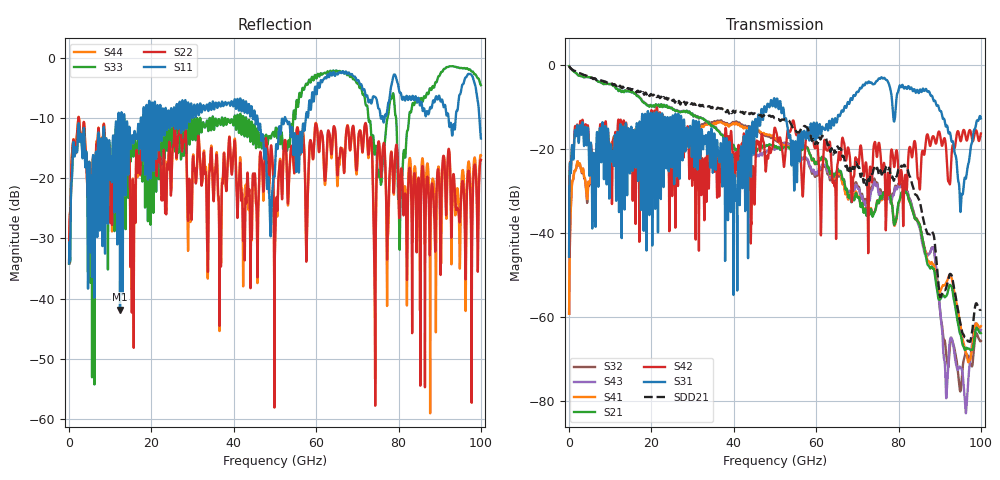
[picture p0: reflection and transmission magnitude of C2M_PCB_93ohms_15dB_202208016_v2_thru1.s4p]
! Info: Touchstone file created by Circ.  Input file=Intel_C2M_200G_4p0in_202208016_staggered.circ
# Hz S RI R 50
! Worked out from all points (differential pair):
!   10000 points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, 10 MHz to 100 GHz, reference 50 ohm
!   strongest paths, dB at 10 MHz, 25.01 GHz, 50.01 GHz, 75.01 GHz, 100 GHz:
!     S31: -45.7, -15.3, -8.9, -3.3, -12.6
!     S42: -45.7, -30.2, -14.9, -19.7, -16.3
!     S21: -0.2, -10.2, -19.5, -32.5, -63.9
!     S41: -59.3, -16.8, -17.3, -32.5, -62.3
!     S43: -0.2, -10.1, -20.1, -29.5, -63.2
!     S32: -59.3, -16.7, -17.8, -29.0, -65.8
!   taken as a pair (ports 1,3 in; 2,4 out), SDD21 dB: -0.2, -8.3, -12.6, -25.2, -58.2
!   lowest |S11| = -41.8 dB at 12.37 GHz (marker M1), VSWR 1.02, Z = 49.8 + j0.795 ohm
!   |S11| at or under -10 dB: start of sweep to 11.94 GHz; 45.74 GHz to 52.35 GHz (6.613 GHz wide, 13.5 % of centre); 52.52 GHz to 57.49 GHz (4.969 GHz wide, 9.03 % of centre)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
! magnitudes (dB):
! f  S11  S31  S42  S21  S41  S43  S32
! 10 MHz  -34.2  -45.7  -45.7  -0.2  -59.3  -0.2  -59.3
! 1.66 GHz  -14.9  -16.8  -15.1  -1.8  -24.7  -1.8  -24.8
! 12.37 GHz  -41.8  -14.8  -14.6  -5.8  -16.7  -5.8  -16.7
! 80.98 GHz  -7.0  -4.7  -30.2  -30.1  -30.4  -29.2  -28.9
! 91.55 GHz  -9.1  -14.6  -19.8  -55.1  -51.9  -79.1  -68.7
! 95.28 GHz  -5.1  -31.4  -17.6  -65.1  -63.7  -72.4  -75.9
! 100 GHz  -13.4  -12.6  -16.3  -63.9  -62.3  -63.2  -65.8
